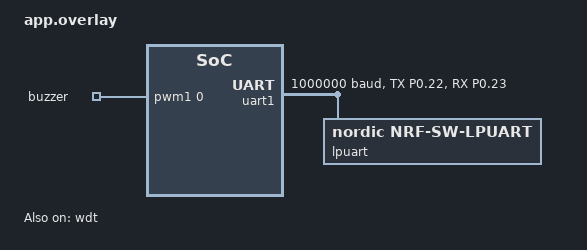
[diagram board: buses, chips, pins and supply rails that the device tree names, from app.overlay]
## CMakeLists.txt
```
cmake_minimum_required(VERSION 3.20.0)
find_package(Zephyr REQUIRED HINTS $ENV{ZEPHYR_BASE})

project(NRF9160)

# Entry point
target_sources(app PRIVATE src/main.c)

zephyr_include_directories(src)

# App headers
zephyr_library_include_directories(
  src
  src/events
  src/modem
  src/uart_channel
  src/server_exchange
  src/modules
  src/watchdog
  src/uart_resolver
  )

# App sources
add_subdirectory(src/events)
add_subdirectory(src/modem)
add_subdirectory(src/uart_channel)
add_subdirectory(src/server_exchange)
add_subdirectory(src/modules)
add_subdirectory(src/uart_resolver)
add_subdirectory_ifdef(CONFIG_ENABLE_WATCHDOG src/watchdog)
```

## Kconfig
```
menu "MainThingy Settings"

config DEVICE_IDENTIFIER
	string "The device identifier"
	default "FF:EE:DD:CC:BB:AA"
	help
		Use the mac adress for now

config USE_ASSISTANCE
	bool "Use assistance module"

config USE_ASSISTANCE_AGNSS
	bool "Use agnss assistance"
	select NRF_CLOUD_AGNSS
	
config USE_ASSISTANCE_PGPS
	bool "Use pgps assistance"
	select NRF_CLOUD_PGPS
	select FLASH
	select FLASH_MAP
	select STREAM_FLASH
	select FCB
	select DATE_TIME

	rsource "src/modem/Kconfig"
	rsource "src/server_exchange/Kconfig"
	rsource "src/uart_channel/Kconfig"
	rsource "src/modules/buzzer/Kconfig"
	rsource "src/watchdog/Kconfig"
	rsource "src/uart_resolver/Kconfig"
endmenu


module = Main
module-str = MainThingy
source "${ZEPHYR_BASE}/subsys/logging/Kconfig.template.log_config"

menu "Zephyr Kernel"
source "Kconfig.zephyr"
endmenu
```

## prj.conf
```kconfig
## Logging
CONFIG_LOG=y
# CONFIG_LOG_DEFAULT_LEVEL=4
CONFIG_NRF_CLOUD_COAP_LOG_LEVEL_DBG=y
# CONFIG_LOG_MODE_IMMEDIATE=y

## General config
CONFIG_NEWLIB_LIBC=y
CONFIG_NEWLIB_LIBC_FLOAT_PRINTF=y
CONFIG_FPU=y
CONFIG_NCS_SAMPLES_DEFAULTS=y

## Network
CONFIG_NETWORKING=y
CONFIG_NET_SOCKETS=y
CONFIG_NET_SOCKETS_POSIX_NAMES=y
CONFIG_NET_SOCKETS_OFFLOAD=y
# Disable native network stack to save some memory
CONFIG_NET_NATIVE=n

## LTE link control
CONFIG_LTE_LINK_CONTROL=y

## Modem library
CONFIG_NRF_MODEM_LIB=y

## Heap and stacks
CONFIG_HEAP_MEM_POOL_SIZE=24576
CONFIG_MAIN_STACK_SIZE=4096
CONFIG_SYSTEM_WORKQUEUE_STACK_SIZE=13278

## LTE parameters
## Network Mode / LTE category
### Enable all of them
CONFIG_LTE_NETWORK_MODE_LTE_M_NBIOT_GPS=y

## PSM
CONFIG_LTE_PSM_ENABLE=y
CONFIG_LTE_PSM_REQ_RPTAU="00100001"
CONFIG_LTE_PSM_REQ_RAT="00000000"

## eDRX
CONFIG_LTE_EDRX_ENABLE=y
CONFIG_LTE_EDRX_REQ_VALUE_LTE_M="1001"

## RAI
CONFIG_LTE_RAI_ENABLE=n
CONFIG_LTE_RAI_REQ_VALUE="0"

##GNSS
CONFIG_GNSS_DYNAMICS_MODE=2
CONFIG_GNSS_PERIODIC_INTERVAL=240
CONFIG_GNSS_PERIODIC_TIMEOUT=120

## Server's
CONFIG_SERVER_HOSTNAME="de2.localto.net"
CONFIG_SERVER_PORT=2802
## Communication with the server
CONFIG_COAP=y
CONFIG_COAP_OVER_DTLS=n
CONFIG_SOCK_SEC_TAG=12
CONFIG_COAP_CLIENT_BLOCK_SIZE=1024
CONFIG_COAP_CLIENT_STACK_SIZE=6144
CONFIG_COAP_CLIENT_THREAD_PRIORITY=0
CONFIG_COAP_EXTENDED_OPTIONS_LEN_VALUE=32
CONFIG_ZCBOR=y

## Use Assistance
CONFIG_USE_ASSISTANCE=y
CONFIG_USE_ASSISTANCE_AGNSS=y
CONFIG_USE_ASSISTANCE_PGPS=n
# Requesting of P-GPS data is handled explicitly by the application
CONFIG_NRF_CLOUD_PGPS_REQUEST_UPON_INIT=n
# PGPS predictions, default equals one week
CONFIG_NRF_CLOUD_PGPS_NUM_PREDICTIONS=42
CONFIG_DOWNLOAD_CLIENT_MAX_HOSTNAME_SIZE=255
CONFIG_DOWNLOAD_CLIENT_MAX_FILENAME_SIZE=255
## Cloud assistance dependency
CONFIG_NRF_CLOUD_COAP=y
CONFIG_MODEM_INFO=y
CONFIG_MODEM_JWT=y
CONFIG_MODEM_INFO_ADD_NETWORK=y
CONFIG_DATE_TIME=y
#CONFIG_JWT=y

##DEV ZOne
CONFIG_DK_LIBRARY=y
CONFIG_ZCBOR_VERBOSE=n
CONFIG_ZCBOR_CANONICAL=n

## RTT
CONFIG_USE_SEGGER_RTT=y
CONFIG_RTT_CONSOLE=y
CONFIG_UART_CONSOLE=n

#Low power UART using the async api
CONFIG_NRF_SW_LPUART=y
CONFIG_UART_1_NRF_ASYNC_LOW_POWER=y
# CONFIG_UART_ASYNC_API=y
CONFIG_UART_1_ASYNC=y
CONFIG_UART_1_INTERRUPT_DRIVEN=n
CONFIG_UART_1_NRF_HW_ASYNC=y
CONFIG_UART_1_NRF_HW_ASYNC_TIMER=2
CONFIG_NRFX_TIMER2=y

# PMIC
CONFIG_ADP536X=y

# Buzzer
CONFIG_ENABLE_BUZZER=y

# Enable events
CONFIG_APP_EVENT_MANAGER=y

# CoAP
CONFIG_COAP=y
CONFIG_COAP_CLIENT=y
CONFIG_COAP_CLIENT_THREAD_PRIORITY=10
CONFIG_COAP_CLIENT_MESSAGE_SIZE=1024
CONFIG_COAP_CLIENT_MESSAGE_HEADER_SIZE=64
CONFIG_COAP_CLIENT_MAX_INSTANCES=2
CONFIG_COAP_CLIENT_MAX_REQUESTS=5

CONFIG_ENABLE_WATCHDOG=y
```

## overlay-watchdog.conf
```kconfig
# Watchdog
CONFIG_ENABLE_WATCHDOG=y
```

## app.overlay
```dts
/ {
	pwmbuzzer {
		compatible = "pwm-leds";
		status = "okay";

		buzzer: buzzer_pwm {
			pwms = <&pwm1 0 PWM_HZ(880) PWM_POLARITY_NORMAL>;
		};
	};
};

&pinctrl {
	uart1_default_alt: uart1_default_alt {
		group1 {
			psels = <NRF_PSEL(UART_TX, 0, 22)>,
				<NRF_PSEL(UART_RX, 0, 23)>;
				// <NRF_PSEL(UART_CTS, 0, 24)>,
				// <NRF_PSEL(UART_RTS, 0, 25)>;
		};
	};

	uart1_sleep_alt: uart1_sleep_alt {
		group1 {
			psels = <NRF_PSEL(UART_TX, 0, 22)>,
				<NRF_PSEL(UART_RX, 0, 23)>;
				// <NRF_PSEL(UART_CTS, 0, 24)>,
				// <NRF_PSEL(UART_RTS, 0, 25)>;
			low-power-enable;
		};
	};
};

&uart1 {
	status = "okay";

	current-speed = <1000000>;
	///delete-property/ hw-flow-control;

	pinctrl-0 = <&uart1_default_alt>;
	pinctrl-1 = <&uart1_sleep_alt>;
	pinctrl-names = "default", "sleep";
	
	lpuart: nrf-sw-lpuart {
		compatible = "nordic,nrf-sw-lpuart";
		status = "okay";
		req-pin = <24>;
		rdy-pin = <25>;
	};
};

&gpiote {
	interrupts = <49 NRF_DEFAULT_IRQ_PRIORITY>;
};

// &uart0 {
// 	status = "disabled";
// };

&wdt {
    status = "okay";
};
```

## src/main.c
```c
#include <zephyr/kernel.h>
#include <zephyr/logging/log.h>
#include <app_event_manager.h>

#include "modem_config.h"
#include "uart_channel.h"
#include "battery_monitor.h"
#include "server_exchange.h"
#include "buzzer.h"
#include "led.h"
#include "uart_resolver.h"
#include "state_flags.h"
#include "watchdog.h"

bool isSystemInitialized = false;

LOG_MODULE_REGISTER(MainThingy, LOG_LEVEL_INF);

int main(void)
{
    int err;

    if (modem_configure())
    {
        LOG_ERR("Failed on modem configuration");
        return err;
    }
    // k_sleep(K_SECONDS(25));

    // wait_for_lte_connection(100);
    wait_for_lte_connection_blocking();
    err = server_exchange_init();
    if (err)
    {
        LOG_ERR("Failed to init the server_exchange module (%d)", err);
        return err;
    }

    

    err = buzzer_init();
    if (err)
    {
        LOG_ERR("Failed to init buzzer module (%d)", err);
        return err;
    }

    err = led_init();
    if (err)
    {
        LOG_ERR("Failed to init led module (%d)", err);
        return err;
    }

    err = uart_channel_init();
    if (err)
    {
        LOG_ERR("Failed to init the uart_channel module (%d)", err);
        return err;
    }

    err = app_event_manager_init();
    if (err)
    {
        LOG_ERR("Unable to init Application Event Manager (%d)", err);
        return err;
    }

    err = uart_resolver_init();
    if (err)
    {
        LOG_ERR("Failed to init the uart_resolver module (%d)", err);
        return err;
    }

    err = watchdog_init_and_start();
    if(err)
    {
        LOG_ERR("Failed to start watchdog (%d)", err);
        return err;    
    }

    LOG_INF("Started");
    isSystemInitialized = true;

    return 0;
}
```

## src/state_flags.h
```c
#ifndef STATE_FLAGS_H
#define STATE_FLAGS_H

#include <zephyr/kernel.h>

extern bool isSystemInitialized;

#endif /* STATE_FLAGS_H */
```
